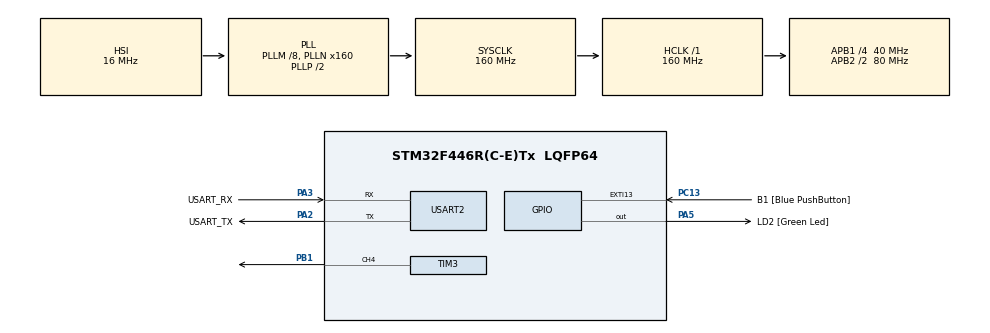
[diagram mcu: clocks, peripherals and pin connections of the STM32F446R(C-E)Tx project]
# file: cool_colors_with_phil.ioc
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Dma.Request0=TIM3_CH4/UP
Dma.TIM3_CH4/UP.0.Direction=DMA_MEMORY_TO_PERIPH
Dma.TIM3_CH4/UP.0.FIFOMode=DMA_FIFOMODE_DISABLE
Dma.TIM3_CH4/UP.0.Instance=DMA1_Stream2
Dma.TIM3_CH4/UP.0.MemDataAlignment=DMA_MDATAALIGN_HALFWORD
Dma.TIM3_CH4/UP.0.MemInc=DMA_MINC_ENABLE
Dma.TIM3_CH4/UP.0.Mode=DMA_NORMAL
Dma.TIM3_CH4/UP.0.PeriphDataAlignment=DMA_PDATAALIGN_HALFWORD
Dma.TIM3_CH4/UP.0.PeriphInc=DMA_PINC_DISABLE
Dma.TIM3_CH4/UP.0.Priority=DMA_PRIORITY_HIGH
Mcu.Family=STM32F4
Mcu.Name=STM32F446R(C-E)Tx
Mcu.Package=LQFP64
NVIC.DMA1_Stream2_IRQn=true\:0\:0\:false\:false\:true\:false\:true\:true
NVIC.EXTI15_10_IRQn=true\:0\:0\:false\:false\:true\:true\:true\:true
NVIC.PriorityGroup=NVIC_PRIORITYGROUP_0
NVIC.TIM3_IRQn=true\:0\:0\:false\:false\:true\:true\:true\:true
PA13.GPIO_Label=TMS
PA13.Mode=Serial_Wire
PA13.Signal=SYS_JTMS-SWDIO
PA14.GPIO_Label=TCK
PA14.Mode=Serial_Wire
PA14.Signal=SYS_JTCK-SWCLK
PA2.GPIO_Label=USART_TX
PA2.Mode=Asynchronous
PA2.Signal=USART2_TX
PA3.GPIO_Label=USART_RX
PA3.Mode=Asynchronous
PA3.Signal=USART2_RX
PA5.GPIO_Label=LD2 [Green Led]
PA5.Signal=GPIO_Output
PB1.Signal=S_TIM3_CH4
PB3.GPIO_Label=SWO
PB3.Signal=SYS_JTDO-SWO
PC13.GPIO_Label=B1 [Blue PushButton]
PC13.GPIO_ModeDefaultEXTI=GPIO_MODE_IT_FALLING
PC13.Signal=GPXTI13
PC14-OSC32_IN.Mode=LSE-External-Oscillator
PC14-OSC32_IN.Signal=RCC_OSC32_IN
PC15-OSC32_OUT.Mode=LSE-External-Oscillator
PC15-OSC32_OUT.Signal=RCC_OSC32_OUT
PH0-OSC_IN.Mode=HSE-External-Oscillator
PH0-OSC_IN.Signal=RCC_OSC_IN
PH1-OSC_OUT.Mode=HSE-External-Oscillator
PH1-OSC_OUT.Signal=RCC_OSC_OUT
ProjectManager.HeapSize=0x200
ProjectManager.StackSize=0x400
ProjectManager.TargetToolchain=STM32CubeIDE
RCC.48MHZClocksFreq_Value=84000000
RCC.AHBFreq_Value=160000000
RCC.APB1CLKDivider=RCC_HCLK_DIV4
RCC.APB1Freq_Value=40000000
RCC.APB1TimFreq_Value=80000000
RCC.APB2CLKDivider=RCC_HCLK_DIV2
RCC.APB2Freq_Value=80000000
RCC.APB2TimFreq_Value=160000000
RCC.CortexFreq_Value=160000000
RCC.FLatency-AdvancedSettings=FLASH_LATENCY_5
RCC.HCLKFreq_Value=160000000
RCC.HSE_VALUE=8000000
RCC.HSI_VALUE=16000000
RCC.PLLM=8
RCC.PLLN=160
RCC.SYSCLKFreq_VALUE=160000000
RCC.SYSCLKSource=RCC_SYSCLKSOURCE_PLLCLK
RCC.USBFreq_Value=160000000
RCC.VCOOutputFreq_Value=320000000
SH.S_TIM3_CH4.0=TIM3_CH4,PWM Generation4 CH4
TIM3.AutoReloadPreload=TIM_AUTORELOAD_PRELOAD_ENABLE
TIM3.Channel-PWM\ Generation4\ CH4=TIM_CHANNEL_4
TIM3.Period=99
USART2.VirtualMode=VM_ASYNC
VP_TIM3_VS_ClockSourceINT.Mode=Internal
board=NUCLEO-F446RE

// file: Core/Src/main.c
/* USER CODE BEGIN Header */
/**
  ******************************************************************************
  * @file           : main.c
  * @brief          : Main program body
  ******************************************************************************
  * @attention
  *
  * Copyright (c) 2026 STMicroelectronics.
  * All rights reserved.
  *
  * This software is licensed under terms that can be found in the LICENSE file
  * in the root directory of this software component.
  * If no LICENSE file comes with this software, it is provided AS-IS.
  *
  ******************************************************************************
  */
/* USER CODE END Header */
#include "main.h"

/* USER CODE BEGIN Includes */
#include <stdlib.h>
/* USER CODE END Includes */

/* USER CODE BEGIN PTD */
typedef union{
	struct{
		uint8_t g;
		uint8_t r;
		uint8_t b;
	}colour;
	uint32_t data;
}WS2812B_LEDDATARGB;
/* USER CODE END PTD */

/* USER CODE BEGIN PD */
#define WS2812B_NUM_LEDS 8

#define WS2812B_TIM 		 htim3
#define WS2812B_TIM_CHANNEL  TIM_CHANNEL_4

#define WS2812B_LO_VAL 32
#define WS2812B_HI_VAL 64

#define WS2812B_RST_PERIODS 240

#define WS2812B_BITS_PER_LED 24

#define WS2812B_DMA_BUF_LEN ((WS2812B_NUM_LEDS*WS2812B_BITS_PER_LED)+WS2812B_RST_PERIODS)
/* USER CODE END PD */

TIM_HandleTypeDef htim3;
DMA_HandleTypeDef hdma_tim3_ch4_up;

UART_HandleTypeDef huart2;

WS2812B_LEDDATARGB WS2812B_LED_DATA[WS2812B_NUM_LEDS];
uint16_t WS2812B_DMA_BUF[WS2812B_DMA_BUF_LEN];
uint8_t WS2812B_DMA_COMPLETE_FLAG;

void SystemClock_Config(void);
static void MX_GPIO_Init(void);
static void MX_DMA_Init(void);
static void MX_TIM3_Init(void);
static void MX_USART2_UART_Init(void);
/* USER CODE BEGIN PFP */
HAL_StatusTypeDef WS2812B_Init(void);
void WS2812B_Set_Colour(uint8_t index, uint8_t r, uint8_t g, uint8_t b);
HAL_StatusTypeDef WS2812B_Update(void);
/* USER CODE END PFP */

int main(void)
{

  /* MCU Configuration--------------------------------------------------------*/

  /* Reset of all peripherals, Initializes the Flash interface and the Systick. */
  HAL_Init();

  /* Configure the system clock */
  SystemClock_Config();

  /* Initialize all configured peripherals */
  MX_GPIO_Init();
  MX_DMA_Init();
  MX_TIM3_Init();
  MX_USART2_UART_Init();
  /* USER CODE BEGIN 2 */
  WS2812B_Init();
  /* USER CODE END 2 */

  /* Infinite loop */
  /* USER CODE BEGIN WHILE */
  while (1)
  {
	  for(int j = 0;j < WS2812B_NUM_LEDS; j++){
		  WS2812B_Set_Colour(j, 0, 0, 255);
		  WS2812B_Update();
		  HAL_Delay(1);
	  }

	  for(int count = 0;count < WS2812B_NUM_LEDS; count++){
	  	if(count%2 == 1){
		WS2812B_Set_Colour(count, 255, 0, 0);
	  	WS2812B_Update();
	  	HAL_Delay(300);
		}
		else{
		WS2812B_Set_Colour(count, 0, 255, 0);
	  	WS2812B_Update();
	  	HAL_Delay(300);
		}

	  	WS2812B_Set_Colour(count, 0, 0, 0);
	  	WS2812B_Update();
	  	HAL_Delay(300);

	  	if (count == WS2812B_NUM_LEDS-1){
	  	for(int uncount = WS2812B_NUM_LEDS+1;uncount> 0; uncount--){
	  		WS2812B_Set_Colour(uncount , 0, 0, 255);
	  		WS2812B_Update();
	  		HAL_Delay(200);
	  }	}
	  }

    /* USER CODE END WHILE */

  }
}

void SystemClock_Config(void)
{
  RCC_OscInitTypeDef RCC_OscInitStruct = {0};
  RCC_ClkInitTypeDef RCC_ClkInitStruct = {0};

  /** Configure the main internal regulator output voltage
  */
  __HAL_RCC_PWR_CLK_ENABLE();
  __HAL_PWR_VOLTAGESCALING_CONFIG(PWR_REGULATOR_VOLTAGE_SCALE1);

  /** Initializes the RCC Oscillators according to the specified parameters
  * in the RCC_OscInitTypeDef structure.
  */
  RCC_OscInitStruct.OscillatorType = RCC_OSCILLATORTYPE_HSI;
  RCC_OscInitStruct.HSIState = RCC_HSI_ON;
  RCC_OscInitStruct.HSICalibrationValue = RCC_HSICALIBRATION_DEFAULT;
  RCC_OscInitStruct.PLL.PLLState = RCC_PLL_ON;
  RCC_OscInitStruct.PLL.PLLSource = RCC_PLLSOURCE_HSI;
  RCC_OscInitStruct.PLL.PLLM = 8;
  RCC_OscInitStruct.PLL.PLLN = 160;
  RCC_OscInitStruct.PLL.PLLP = RCC_PLLP_DIV2;
  RCC_OscInitStruct.PLL.PLLQ = 2;
  RCC_OscInitStruct.PLL.PLLR = 2;
  if (HAL_RCC_OscConfig(&RCC_OscInitStruct) != HAL_OK)
  {
    Error_Handler();
  }

  /** Initializes the CPU, AHB and APB buses clocks
  */
  RCC_ClkInitStruct.ClockType = RCC_CLOCKTYPE_HCLK|RCC_CLOCKTYPE_SYSCLK
                              |RCC_CLOCKTYPE_PCLK1|RCC_CLOCKTYPE_PCLK2;
  RCC_ClkInitStruct.SYSCLKSource = RCC_SYSCLKSOURCE_PLLCLK;
  RCC_ClkInitStruct.AHBCLKDivider = RCC_SYSCLK_DIV1;
  RCC_ClkInitStruct.APB1CLKDivider = RCC_HCLK_DIV4;
  RCC_ClkInitStruct.APB2CLKDivider = RCC_HCLK_DIV2;

  if (HAL_RCC_ClockConfig(&RCC_ClkInitStruct, FLASH_LATENCY_5) != HAL_OK)
  {
    Error_Handler();
  }
}

static void MX_TIM3_Init(void)
{

  TIM_ClockConfigTypeDef sClockSourceConfig = {0};
  TIM_MasterConfigTypeDef sMasterConfig = {0};
  TIM_OC_InitTypeDef sConfigOC = {0};

  htim3.Instance = TIM3;
  htim3.Init.Prescaler = 0;
  htim3.Init.CounterMode = TIM_COUNTERMODE_UP;
  htim3.Init.Period = 99;
  htim3.Init.ClockDivision = TIM_CLOCKDIVISION_DIV1;
  htim3.Init.AutoReloadPreload = TIM_AUTORELOAD_PRELOAD_ENABLE;
  if (HAL_TIM_Base_Init(&htim3) != HAL_OK)
  {
    Error_Handler();
  }
  sClockSourceConfig.ClockSource = TIM_CLOCKSOURCE_INTERNAL;
  if (HAL_TIM_ConfigClockSource(&htim3, &sClockSourceConfig) != HAL_OK)
  {
    Error_Handler();
  }
  if (HAL_TIM_PWM_Init(&htim3) != HAL_OK)
  {
    Error_Handler();
  }
  sMasterConfig.MasterOutputTrigger = TIM_TRGO_RESET;
  sMasterConfig.MasterSlaveMode = TIM_MASTERSLAVEMODE_DISABLE;
  if (HAL_TIMEx_MasterConfigSynchronization(&htim3, &sMasterConfig) != HAL_OK)
  {
    Error_Handler();
  }
  sConfigOC.OCMode = TIM_OCMODE_PWM1;
  sConfigOC.Pulse = 0;
  sConfigOC.OCPolarity = TIM_OCPOLARITY_HIGH;
  sConfigOC.OCFastMode = TIM_OCFAST_DISABLE;
  if (HAL_TIM_PWM_ConfigChannel(&htim3, &sConfigOC, TIM_CHANNEL_4) != HAL_OK)
  {
    Error_Handler();
  }
  HAL_TIM_MspPostInit(&htim3);

}

static void MX_USART2_UART_Init(void)
{

  huart2.Instance = USART2;
  huart2.Init.BaudRate = 115200;
  huart2.Init.WordLength = UART_WORDLENGTH_8B;
  huart2.Init.StopBits = UART_STOPBITS_1;
  huart2.Init.Parity = UART_PARITY_NONE;
  huart2.Init.Mode = UART_MODE_TX_RX;
  huart2.Init.HwFlowCtl = UART_HWCONTROL_NONE;
  huart2.Init.OverSampling = UART_OVERSAMPLING_16;
  if (HAL_UART_Init(&huart2) != HAL_OK)
  {
    Error_Handler();
  }

}

static void MX_DMA_Init(void)
{

  /* DMA controller clock enable */
  __HAL_RCC_DMA1_CLK_ENABLE();

  /* DMA interrupt init */
  /* DMA1_Stream2_IRQn interrupt configuration */
  HAL_NVIC_SetPriority(DMA1_Stream2_IRQn, 0, 0);
  HAL_NVIC_EnableIRQ(DMA1_Stream2_IRQn);

}

static void MX_GPIO_Init(void)
{
  GPIO_InitTypeDef GPIO_InitStruct = {0};

  /* GPIO Ports Clock Enable */
  __HAL_RCC_GPIOC_CLK_ENABLE();
  __HAL_RCC_GPIOH_CLK_ENABLE();
  __HAL_RCC_GPIOA_CLK_ENABLE();
  __HAL_RCC_GPIOB_CLK_ENABLE();

  /*Configure GPIO pin Output Level */
  HAL_GPIO_WritePin(LD2_GPIO_Port, LD2_Pin, GPIO_PIN_RESET);

  /*Configure GPIO pin : B1_Pin */
  GPIO_InitStruct.Pin = B1_Pin;
  GPIO_InitStruct.Mode = GPIO_MODE_IT_FALLING;
  GPIO_InitStruct.Pull = GPIO_NOPULL;
  HAL_GPIO_Init(B1_GPIO_Port, &GPIO_InitStruct);

  /*Configure GPIO pin : LD2_Pin */
  GPIO_InitStruct.Pin = LD2_Pin;
  GPIO_InitStruct.Mode = GPIO_MODE_OUTPUT_PP;
  GPIO_InitStruct.Pull = GPIO_NOPULL;
  GPIO_InitStruct.Speed = GPIO_SPEED_FREQ_LOW;
  HAL_GPIO_Init(LD2_GPIO_Port, &GPIO_InitStruct);

  /* EXTI interrupt init*/
  HAL_NVIC_SetPriority(EXTI15_10_IRQn, 0, 0);
  HAL_NVIC_EnableIRQ(EXTI15_10_IRQn);

}

/* USER CODE BEGIN 4 */
HAL_StatusTypeDef WS2812B_Init(){
	HAL_StatusTypeDef halStatus = HAL_TIM_PWM_Init(&WS2812B_TIM);

	for(uint16_t bufIndex=0 ; bufIndex < WS2812B_DMA_BUF_LEN ; bufIndex++){
		WS2812B_DMA_BUF[bufIndex]= 0;
	}

	WS2812B_DMA_COMPLETE_FLAG = 1;

	return halStatus;

}

void WS2812B_Set_Colour(uint8_t index, uint8_t r, uint8_t g, uint8_t b){
	WS2812B_LED_DATA[index].colour.r = r;
	WS2812B_LED_DATA[index].colour.g = g;
	WS2812B_LED_DATA[index].colour.b = b;
}

HAL_StatusTypeDef WS2812B_Update(void) {

    if (!WS2812B_DMA_COMPLETE_FLAG) {
        return HAL_BUSY;
    }

    uint16_t bufIndex = 0;

    for (uint8_t ledIndex = 0; ledIndex < WS2812B_NUM_LEDS; ledIndex++) {

        for (uint8_t bitIndex = 0; bitIndex < WS2812B_BITS_PER_LED; bitIndex++) {

            if ((WS2812B_LED_DATA[ledIndex].data >> bitIndex) & 0x01) {
                WS2812B_DMA_BUF[bufIndex] = WS2812B_HI_VAL;
            } else {
                WS2812B_DMA_BUF[bufIndex] = WS2812B_LO_VAL;
            }
            bufIndex++;
        }
    }

    for (uint16_t i = 0; i < WS2812B_RST_PERIODS; i++) {
        WS2812B_DMA_BUF[bufIndex] = 0;
        bufIndex++;
    }

    WS2812B_DMA_COMPLETE_FLAG = 0;

    HAL_TIM_PWM_Start_DMA(&htim3, TIM_CHANNEL_4, (uint32_t*)WS2812B_DMA_BUF, bufIndex);

    return HAL_OK;
}

void HAL_TIM_PWM_PulseFinishedCallback(TIM_HandleTypeDef *htim) {

    if (htim->Instance == TIM3) {

        HAL_TIM_PWM_Stop_DMA(&WS2812B_TIM, WS2812B_TIM_CHANNEL);

        WS2812B_DMA_COMPLETE_FLAG = 1;
    }
}
/* USER CODE END 4 */

void Error_Handler(void)
{
  __disable_irq();
  while (1)
  {
  }
}
